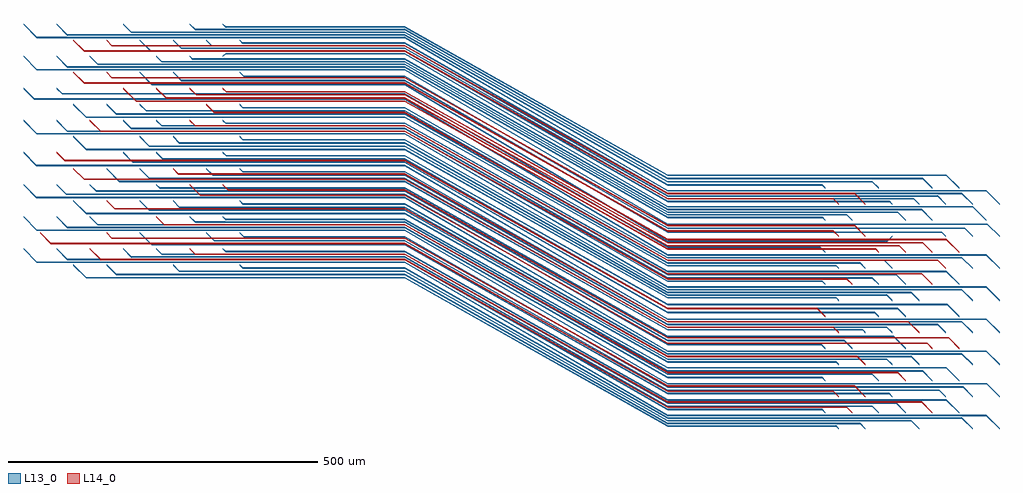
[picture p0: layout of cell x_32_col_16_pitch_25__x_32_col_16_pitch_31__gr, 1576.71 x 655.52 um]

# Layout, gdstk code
import gdstk
lib = gdstk.Library(unit=1e-6, precision=1e-09)
def R(c, l, rs):  # rectangles x0, y0, x1, y1
    for r in rs: c.add(gdstk.rectangle(r[:2], r[2:], *l))
def A(c, l, x, y, w, h, nx, ny, dx, dy):  # array of equal rectangles
    R(c, l, [(x+i*dx, y+j*dy, x+i*dx+w, y+j*dy+h) for i in range(nx) for j in range(ny)])
def P(c, l, *ps):  # polygons
    for p in ps: c.add(gdstk.Polygon(p, *l))
L13_0 = (13, 0)
L14_0 = (14, 0)

x_32_col_16_pitch_25__x_ = lib.new_cell('x_32_col_16_pitch_25__x_32_col_16_pitch_31__gr')
A(x_32_col_16_pitch_25__x_, L13_0, 2300, 1226.56, 271.46, 2, 1, 3, 0, 103.68)
A(x_32_col_16_pitch_25__x_, L13_0, 2300, 1235.2, 392.72, 2, 1, 3, 0, 103.68)
A(x_32_col_16_pitch_25__x_, L13_0, 2300, 1305.184, 248.946, 2, 1, 3, 0, 155.52)
A(x_32_col_16_pitch_25__x_, L13_0, 2300, 1310.368, 330.362, 2, 1, 3, 0, 155.52)
A(x_32_col_16_pitch_25__x_, L13_0, 2300, 1320.736, 449.894, 2, 1, 3, 0, 155.52)
A(x_32_col_16_pitch_25__x_, L13_0, 2300, 1334.56, 353.74, 2, 1, 3, 0, 51.84)
A(x_32_col_16_pitch_25__x_, L13_0, 2300, 1343.2, 475, 2, 1, 4, 0, 51.84)
A(x_32_col_16_pitch_25__x_, L13_0, 2300, 1347.52, 513.982, 2, 1, 4, 0, 51.84)
A(x_32_col_16_pitch_25__x_, L13_0, 1360.153, 1466.224, 514.847, 2, 1, 3, 0, 103.68)
A(x_32_col_16_pitch_25__x_, L13_0, 1510.865, 1476.592, 364.135, 2, 1, 3, 0, 103.68)
A(x_32_col_16_pitch_25__x_, L13_0, 1462.352, 1575.088, 412.648, 2, 1, 3, 0, 51.84)
A(x_32_col_16_pitch_25__x_, L13_0, 1613.064, 1585.456, 261.936, 2, 1, 4, 0, 51.84)
R(x_32_col_16_pitch_25__x_, L13_0, [(2300,1230.88,2610.44,1232.88), (2300,1239.52,2775,1241.52), (2300,1243.84,2813.982,1245.84), (2300,1253.344,2548.946,1255.344), (2300,1258.528,2630.362,1260.528), (2300,1263.712,2668.478,1265.712), (2300,1268.896,2749.894,1270.896), (2300,1279.264,2657.196,1281.264), (2300,1284.448,2738.612,1286.448), (2300,1289.632,2776.728,1291.632), (2300,1294.816,2814.846,1296.816), (2300,1315.552,2711.778,1317.552), (2300,1358.32,2547.65,1360.32), (2300,1364.8,2584.47,1366.8), (2300,1371.28,2664.59,1373.28), (2300,1382.08,2614.76,1384.08), (2300,1390.72,2736.02,1392.72), (2300,1410.16,2634.25,1412.16), (2300,1416.64,2671.07,1418.64), (2300,1423.12,2751.19,1425.12), (2300,1471.072,2668.478,1473.072), (1408.662,1471.408,1875,1473.408), (1613.064,1481.776,1875,1483.776), (2300,1485.76,2571.46,1487.76), (2300,1490.08,2610.44,1492.08), (1280.472,1491.28,1875,1493.28), (2300,1494.4,2649.42,1496.4), (1329.85,1495.6,1875,1497.6), (1432.917,1499.92,1875,1501.92), (1482.29,1504.24,1875,1506.24), (1585.36,1508.56,1875,1510.56), (2300,1516,2545.49,1518), (1466.24,1519.36,1875,1521.36), (2300,1524.64,2653.74,1526.64), (1567.15,1525.84,1875,1527.84), (1614.36,1532.32,1875,1534.32), (2300,1539.76,2742.5,1541.76), (1280.472,1543.12,1875,1545.12), (2300,1546.24,2779.32,1548.24), (1329.85,1547.44,1875,1549.44), (1379.22,1551.76,1875,1553.76), (2300,1552.72,2816.142,1554.72), (1535.98,1556.08,1875,1558.08), (1585.36,1560.4,1875,1562.4), (2300,1563.52,2549.81,1565.52), (2300,1567.84,2588.79,1569.84), (2300,1572.16,2671.07,1574.16), (2300,1576.48,2710.05,1578.48), (2300,1580.8,2792.332,1582.8), (2300,1589.44,2658.06,1591.44), (2300,1593.76,2697.04,1595.76), (1279.608,1595.824,1875,1597.824), (2300,1598.08,2736.02,1600.08), (1328.122,1601.008,1875,1603.008), (2300,1602.4,2775,1604.4), (1376.628,1606.192,1875,1608.192), (2300,1606.72,2813.982,1608.72), (1478.834,1611.376,1875,1613.376), (1413.846,1621.744,1875,1623.744), (2300,1626.592,2711.778,1628.592), (1564.558,1632.112,1875,1634.112), (1279.608,1647.664,1875,1649.664), (1435.509,1652.848,1875,1654.848), (1484.018,1658.032,1875,1660.032), (1586.224,1663.216,1875,1665.216), (1280.472,1698.64,1875,1700.64), (1329.85,1702.96,1875,1704.96), (1432.917,1707.28,1875,1709.28), (1482.29,1711.6,1875,1713.6), (1585.36,1715.92,1875,1717.92), (1360.153,1725.424,1875,1727.424), (1408.662,1730.608,1875,1732.608), (1457.168,1735.792,1875,1737.792), (1276.152,1754.8,1875,1756.8), (1321.21,1763.44,1875,1765.44), (1466.24,1778.56,1875,1780.56), (1513.457,1785.04,1875,1787.04), (1614.36,1791.52,1875,1793.52), (1280.472,1802.32,1875,1804.32), (1329.85,1806.64,1875,1808.64), (1379.22,1810.96,1875,1812.96), (1482.29,1815.28,1875,1817.28), (1531.66,1819.6,1875,1821.6), (1585.36,1828.24,1875,1830.24), (1464.08,1832.56,1875,1834.56), (1513.457,1836.88,1875,1838.88), (1562.83,1841.2,1875,1843.2), (1612.2,1845.52,1875,1847.52), (1280.472,1854.16,1875,1856.16), (1329.85,1858.48,1875,1860.48), (1432.917,1862.8,1875,1864.8), (1535.98,1867.12,1875,1869.12), (1585.36,1871.44,1875,1873.44)])
P(x_32_col_16_pitch_25__x_, L13_0, [(2554.13,1611.04),(2554.13,1613.04),(2548.946,1618.224),(2548.946,1616.224)],
  [(2300,1616.224),(2300,1618.224),(1875,1860.48),(1875,1858.48)],
  [(1329.85,1858.48),(1329.85,1860.48),(1312.57,1877.76),(1312.57,1875.76)],
  [(2640.73,1611.04),(2640.73,1613.04),(2630.362,1623.408),(2630.362,1621.408)],
  [(2300,1621.408),(2300,1623.408),(1875,1864.8),(1875,1862.8)],
  [(1432.917,1862.8),(1432.917,1864.8),(1419.957,1877.76),(1419.957,1875.76)],
  [(2727.33,1611.04),(2727.33,1613.04),(2711.778,1628.592),(2711.778,1626.592)],
  [(2300,1626.592),(2300,1628.592),(1875,1869.12),(1875,1867.12)],
  [(1535.98,1867.12),(1535.98,1869.12),(1527.34,1877.76),(1527.34,1875.76)],
  [(2770.63,1611.04),(2770.63,1613.04),(2749.894,1633.776),(2749.894,1631.776)],
  [(2300,1631.776),(2300,1633.776),(1875,1873.44),(1875,1871.44)],
  [(1585.36,1871.44),(1585.36,1873.44),(1581.04,1877.76),(1581.04,1875.76)],
  [(2662.38,1585.12),(2662.38,1587.12),(2658.06,1591.44),(2658.06,1589.44)],
  [(2300,1589.44),(2300,1591.44),(1875,1834.56),(1875,1832.56)],
  [(1464.08,1832.56),(1464.08,1834.56),(1446.8,1851.84),(1446.8,1849.84)],
  [(2705.68,1585.12),(2705.68,1587.12),(2697.04,1595.76),(2697.04,1593.76)],
  [(2300,1593.76),(2300,1595.76),(1875,1838.88),(1875,1836.88)],
  [(1513.457,1836.88),(1513.457,1838.88),(1500.497,1851.84),(1500.497,1849.84)],
  [(2748.98,1585.12),(2748.98,1587.12),(2736.02,1600.08),(2736.02,1598.08)],
  [(2300,1598.08),(2300,1600.08),(1875,1843.2),(1875,1841.2)],
  [(1562.83,1841.2),(1562.83,1843.2),(1554.19,1851.84),(1554.19,1849.84)],
  [(2792.28,1585.12),(2792.28,1587.12),(2775,1604.4),(2775,1602.4)],
  [(2300,1602.4),(2300,1604.4),(1875,1847.52),(1875,1845.52)],
  [(1612.2,1845.52),(1612.2,1847.52),(1607.88,1851.84),(1607.88,1849.84)],
  [(2835.582,1585.12),(2835.582,1587.12),(2813.982,1608.72),(2813.982,1606.72)],
  [(2300,1606.72),(2300,1608.72),(1875,1856.16),(1875,1854.16)],
  [(1280.472,1854.16),(1280.472,1856.16),(1258.872,1877.76),(1258.872,1875.76)],
  [(2554.13,1559.2),(2554.13,1561.2),(2549.81,1565.52),(2549.81,1563.52)],
  [(2300,1563.52),(2300,1565.52),(1875,1808.64),(1875,1806.64)],
  [(1329.85,1806.64),(1329.85,1808.64),(1312.57,1825.92),(1312.57,1823.92)],
  [(2597.43,1559.2),(2597.43,1561.2),(2588.79,1569.84),(2588.79,1567.84)],
  [(2300,1567.84),(2300,1569.84),(1875,1812.96),(1875,1810.96)],
  [(1379.22,1810.96),(1379.22,1812.96),(1366.26,1825.92),(1366.26,1823.92)],
  [(2684.03,1559.2),(2684.03,1561.2),(2671.07,1574.16),(2671.07,1572.16)],
  [(2300,1572.16),(2300,1574.16),(1875,1817.28),(1875,1815.28)],
  [(1482.29,1815.28),(1482.29,1817.28),(1473.65,1825.92),(1473.65,1823.92)],
  [(2727.33,1559.2),(2727.33,1561.2),(2710.05,1578.48),(2710.05,1576.48)],
  [(2300,1576.48),(2300,1578.48),(1875,1821.6),(1875,1819.6)],
  [(1531.66,1819.6),(1531.66,1821.6),(1527.34,1825.92),(1527.34,1823.92)],
  [(2813.932,1559.2),(2813.932,1561.2),(2792.332,1582.8),(2792.332,1580.8)],
  [(2300,1580.8),(2300,1582.8),(1875,1830.24),(1875,1828.24)],
  [(1585.36,1828.24),(1585.36,1830.24),(1581.04,1825.92),(1581.04,1823.92)],
  [(2662.38,1533.28),(2662.38,1535.28),(2653.74,1526.64),(2653.74,1524.64)],
  [(2300,1524.64),(2300,1526.64),(1875,1780.56),(1875,1778.56)],
  [(1466.24,1778.56),(1466.24,1780.56),(1446.8,1800),(1446.8,1798)],
  [(2748.98,1533.28),(2748.98,1535.28),(2742.5,1541.76),(2742.5,1539.76)],
  [(2300,1539.76),(2300,1541.76),(1875,1787.04),(1875,1785.04)],
  [(1513.457,1785.04),(1513.457,1787.04),(1500.497,1800),(1500.497,1798)],
  [(2792.28,1533.28),(2792.28,1535.28),(2779.32,1548.24),(2779.32,1546.24)],
  [(2300,1546.24),(2300,1548.24),(1875,1793.52),(1875,1791.52)],
  [(1614.36,1791.52),(1614.36,1793.52),(1607.88,1800),(1607.88,1798)],
  [(2835.582,1533.28),(2835.582,1535.28),(2816.142,1554.72),(2816.142,1552.72)],
  [(2300,1552.72),(2300,1554.72),(1875,1804.32),(1875,1802.32)],
  [(1280.472,1802.32),(1280.472,1804.32),(1258.872,1825.92),(1258.872,1823.92)],
  [(2554.13,1507.36),(2554.13,1509.36),(2545.49,1518),(2545.49,1516)],
  [(2300,1516),(2300,1518),(1875,1765.44),(1875,1763.44)],
  [(1321.21,1763.44),(1321.21,1765.44),(1312.57,1774.08),(1312.57,1772.08)],
  [(2575.78,1481.44),(2575.78,1483.44),(2571.46,1487.76),(2571.46,1485.76)],
  [(2300,1485.76),(2300,1487.76),(1875,1727.424),(1875,1725.424)],
  [(1360.153,1725.424),(1360.153,1727.424),(1339.417,1748.16),(1339.417,1746.16)],
  [(2619.08,1481.44),(2619.08,1483.44),(2610.44,1492.08),(2610.44,1490.08)],
  [(2300,1490.08),(2300,1492.08),(1875,1732.608),(1875,1730.608)],
  [(1408.662,1730.608),(1408.662,1732.608),(1393.11,1748.16),(1393.11,1746.16)],
  [(2662.38,1481.44),(2662.38,1483.44),(2649.42,1496.4),(2649.42,1494.4)],
  [(2300,1494.4),(2300,1496.4),(1875,1737.792),(1875,1735.792)],
  [(1457.168,1735.792),(1457.168,1737.792),(1446.8,1748.16),(1446.8,1746.16)],
  [(2792.28,1481.44),(2792.28,1483.44),(2775,1500.72),(2775,1498.72)],
  [(2300,1498.72),(2300,1500.72),(1875,1742.976),(1875,1740.976)],
  [(1613.064,1740.976),(1613.064,1742.976),(1607.88,1748.16),(1607.88,1746.16)],
  [(2835.582,1481.44),(2835.582,1483.44),(2813.982,1505.04),(2813.982,1503.04)],
  [(2300,1503.04),(2300,1505.04),(1875,1756.8),(1875,1754.8)],
  [(1276.152,1754.8),(1276.152,1756.8),(1258.872,1774.08),(1258.872,1772.08)],
  [(2554.13,1455.52),(2554.13,1457.52),(2548.946,1462.704),(2548.946,1460.704)],
  [(2300,1460.704),(2300,1462.704),(1875,1704.96),(1875,1702.96)],
  [(1329.85,1702.96),(1329.85,1704.96),(1312.57,1722.24),(1312.57,1720.24)],
  [(2640.73,1455.52),(2640.73,1457.52),(2630.362,1467.888),(2630.362,1465.888)],
  [(2300,1465.888),(2300,1467.888),(1875,1709.28),(1875,1707.28)],
  [(1432.917,1707.28),(1432.917,1709.28),(1419.957,1722.24),(1419.957,1720.24)],
  [(2684.03,1455.52),(2684.03,1457.52),(2668.478,1473.072),(2668.478,1471.072)],
  [(2300,1471.072),(2300,1473.072),(1875,1713.6),(1875,1711.6)],
  [(1482.29,1711.6),(1482.29,1713.6),(1473.65,1722.24),(1473.65,1720.24)],
  [(2770.63,1455.52),(2770.63,1457.52),(2749.894,1478.256),(2749.894,1476.256)],
  [(2300,1476.256),(2300,1478.256),(1875,1717.92),(1875,1715.92)],
  [(1585.36,1715.92),(1585.36,1717.92),(1581.04,1722.24),(1581.04,1720.24)],
  [(2575.78,1429.6),(2575.78,1431.6),(2571.46,1435.92),(2571.46,1433.92)],
  [(2300,1433.92),(2300,1435.92),(1875,1675.584),(1875,1673.584)],
  [(1360.153,1673.584),(1360.153,1675.584),(1339.417,1696.32),(1339.417,1694.32)],
  [(2662.38,1429.6),(2662.38,1431.6),(2653.74,1440.24),(2653.74,1438.24)],
  [(2300,1438.24),(2300,1440.24),(1875,1680.768),(1875,1678.768)],
  [(1462.352,1678.768),(1462.352,1680.768),(1446.8,1696.32),(1446.8,1694.32)],
  [(2705.68,1429.6),(2705.68,1431.6),(2692.72,1444.56),(2692.72,1442.56)],
  [(2300,1442.56),(2300,1444.56),(1875,1685.952),(1875,1683.952)],
  [(1510.865,1683.952),(1510.865,1685.952),(1500.497,1696.32),(1500.497,1694.32)],
  [(2792.28,1429.6),(2792.28,1431.6),(2775,1448.88),(2775,1446.88)],
  [(2300,1446.88),(2300,1448.88),(1875,1691.136),(1875,1689.136)],
  [(1613.064,1689.136),(1613.064,1691.136),(1607.88,1696.32),(1607.88,1694.32)],
  [(2835.582,1429.6),(2835.582,1431.6),(2813.982,1453.2),(2813.982,1451.2)],
  [(2300,1451.2),(2300,1453.2),(1875,1700.64),(1875,1698.64)],
  [(1280.472,1698.64),(1280.472,1700.64),(1258.872,1722.24),(1258.872,1720.24)],
  [(2640.73,1403.68),(2640.73,1405.68),(2634.25,1412.16),(2634.25,1410.16)],
  [(2300,1410.16),(2300,1412.16),(1875,1654.848),(1875,1652.848)],
  [(1435.509,1652.848),(1435.509,1654.848),(1419.957,1670.4),(1419.957,1668.4)],
  [(2684.03,1403.68),(2684.03,1405.68),(2671.07,1418.64),(2671.07,1416.64)],
  [(2300,1416.64),(2300,1418.64),(1875,1660.032),(1875,1658.032)],
  [(1484.018,1658.032),(1484.018,1660.032),(1473.65,1670.4),(1473.65,1668.4)],
  [(2770.63,1403.68),(2770.63,1405.68),(2751.19,1425.12),(2751.19,1423.12)],
  [(2300,1423.12),(2300,1425.12),(1875,1665.216),(1875,1663.216)],
  [(1586.224,1663.216),(1586.224,1665.216),(1581.04,1670.4),(1581.04,1668.4)],
  [(2619.08,1377.76),(2619.08,1379.76),(2614.76,1384.08),(2614.76,1382.08)],
  [(2300,1382.08),(2300,1384.08),(1875,1623.744),(1875,1621.744)],
  [(1413.846,1621.744),(1413.846,1623.744),(1393.11,1644.48),(1393.11,1642.48)],
  [(2662.38,1377.76),(2662.38,1379.76),(2653.74,1388.4),(2653.74,1386.4)],
  [(2300,1386.4),(2300,1388.4),(1875,1628.928),(1875,1626.928)],
  [(1462.352,1626.928),(1462.352,1628.928),(1446.8,1644.48),(1446.8,1642.48)],
  [(2748.98,1377.76),(2748.98,1379.76),(2736.02,1392.72),(2736.02,1390.72)],
  [(2300,1390.72),(2300,1392.72),(1875,1634.112),(1875,1632.112)],
  [(1564.558,1632.112),(1564.558,1634.112),(1554.19,1644.48),(1554.19,1642.48)],
  [(2792.28,1377.76),(2792.28,1379.76),(2775,1397.04),(2775,1395.04)],
  [(2300,1395.04),(2300,1397.04),(1875,1639.296),(1875,1637.296)],
  [(1613.064,1637.296),(1613.064,1639.296),(1607.88,1644.48),(1607.88,1642.48)],
  [(2835.582,1377.76),(2835.582,1379.76),(2813.982,1401.36),(2813.982,1399.36)],
  [(2300,1399.36),(2300,1401.36),(1875,1649.664),(1875,1647.664)],
  [(1279.608,1647.664),(1279.608,1649.664),(1258.872,1670.4),(1258.872,1668.4)],
  [(2554.13,1351.84),(2554.13,1353.84),(2547.65,1360.32),(2547.65,1358.32)],
  [(2300,1358.32),(2300,1360.32),(1875,1603.008),(1875,1601.008)],
  [(1328.122,1601.008),(1328.122,1603.008),(1312.57,1618.56),(1312.57,1616.56)],
  [(2597.43,1351.84),(2597.43,1353.84),(2584.47,1366.8),(2584.47,1364.8)],
  [(2300,1364.8),(2300,1366.8),(1875,1608.192),(1875,1606.192)],
  [(1376.628,1606.192),(1376.628,1608.192),(1366.26,1618.56),(1366.26,1616.56)],
  [(2684.03,1351.84),(2684.03,1353.84),(2664.59,1373.28),(2664.59,1371.28)],
  [(2300,1371.28),(2300,1373.28),(1875,1613.376),(1875,1611.376)],
  [(1478.834,1611.376),(1478.834,1613.376),(1473.65,1618.56),(1473.65,1616.56)],
  [(2575.78,1325.92),(2575.78,1327.92),(2571.46,1332.24),(2571.46,1330.24)],
  [(2300,1330.24),(2300,1332.24),(1875,1571.904),(1875,1569.904)],
  [(1360.153,1569.904),(1360.153,1571.904),(1339.417,1592.64),(1339.417,1590.64)],
  [(2662.38,1325.92),(2662.38,1327.92),(2653.74,1336.56),(2653.74,1334.56)],
  [(2300,1334.56),(2300,1336.56),(1875,1577.088),(1875,1575.088)],
  [(1462.352,1575.088),(1462.352,1577.088),(1446.8,1592.64),(1446.8,1590.64)],
  [(2705.68,1325.92),(2705.68,1327.92),(2692.72,1340.88),(2692.72,1338.88)],
  [(2300,1338.88),(2300,1340.88),(1875,1582.272),(1875,1580.272)],
  [(1510.865,1580.272),(1510.865,1582.272),(1500.497,1592.64),(1500.497,1590.64)],
  [(2792.28,1325.92),(2792.28,1327.92),(2775,1345.2),(2775,1343.2)],
  [(2300,1343.2),(2300,1345.2),(1875,1587.456),(1875,1585.456)],
  [(1613.064,1585.456),(1613.064,1587.456),(1607.88,1592.64),(1607.88,1590.64)],
  [(2835.582,1325.92),(2835.582,1327.92),(2813.982,1349.52),(2813.982,1347.52)],
  [(2300,1347.52),(2300,1349.52),(1875,1597.824),(1875,1595.824)],
  [(1279.608,1595.824),(1279.608,1597.824),(1258.872,1618.56),(1258.872,1616.56)],
  [(2554.13,1300),(2554.13,1302),(2548.946,1307.184),(2548.946,1305.184)],
  [(2300,1305.184),(2300,1307.184),(1875,1549.44),(1875,1547.44)],
  [(1329.85,1547.44),(1329.85,1549.44),(1312.57,1566.72),(1312.57,1564.72)],
  [(2640.73,1300),(2640.73,1302),(2630.362,1312.368),(2630.362,1310.368)],
  [(2300,1310.368),(2300,1312.368),(1875,1553.76),(1875,1551.76)],
  [(1379.22,1551.76),(1379.22,1553.76),(1366.26,1566.72),(1366.26,1564.72)],
  [(2727.33,1300),(2727.33,1302),(2711.778,1317.552),(2711.778,1315.552)],
  [(2300,1315.552),(2300,1317.552),(1875,1558.08),(1875,1556.08)],
  [(1535.98,1556.08),(1535.98,1558.08),(1527.34,1566.72),(1527.34,1564.72)],
  [(2770.63,1300),(2770.63,1302),(2749.894,1322.736),(2749.894,1320.736)],
  [(2300,1320.736),(2300,1322.736),(1875,1562.4),(1875,1560.4)],
  [(1585.36,1560.4),(1585.36,1562.4),(1581.04,1566.72),(1581.04,1564.72)],
  [(2662.38,1274.08),(2662.38,1276.08),(2657.196,1281.264),(2657.196,1279.264)],
  [(2300,1279.264),(2300,1281.264),(1875,1521.36),(1875,1519.36)],
  [(1466.24,1519.36),(1466.24,1521.36),(1446.8,1540.8),(1446.8,1538.8)],
  [(2748.98,1274.08),(2748.98,1276.08),(2738.612,1286.448),(2738.612,1284.448)],
  [(2300,1284.448),(2300,1286.448),(1875,1527.84),(1875,1525.84)],
  [(1567.15,1525.84),(1567.15,1527.84),(1554.19,1540.8),(1554.19,1538.8)],
  [(2792.28,1274.08),(2792.28,1276.08),(2776.728,1291.632),(2776.728,1289.632)],
  [(2300,1289.632),(2300,1291.632),(1875,1534.32),(1875,1532.32)],
  [(1614.36,1532.32),(1614.36,1534.32),(1607.88,1540.8),(1607.88,1538.8)],
  [(2835.582,1274.08),(2835.582,1276.08),(2814.846,1296.816),(2814.846,1294.816)],
  [(2300,1294.816),(2300,1296.816),(1875,1545.12),(1875,1543.12)],
  [(1280.472,1543.12),(1280.472,1545.12),(1258.872,1566.72),(1258.872,1564.72)],
  [(2554.13,1248.16),(2554.13,1250.16),(2548.946,1255.344),(2548.946,1253.344)],
  [(2300,1253.344),(2300,1255.344),(1875,1497.6),(1875,1495.6)],
  [(1329.85,1495.6),(1329.85,1497.6),(1312.57,1514.88),(1312.57,1512.88)],
  [(2640.73,1248.16),(2640.73,1250.16),(2630.362,1260.528),(2630.362,1258.528)],
  [(2300,1258.528),(2300,1260.528),(1875,1501.92),(1875,1499.92)],
  [(1432.917,1499.92),(1432.917,1501.92),(1419.957,1514.88),(1419.957,1512.88)],
  [(2684.03,1248.16),(2684.03,1250.16),(2668.478,1265.712),(2668.478,1263.712)],
  [(2300,1263.712),(2300,1265.712),(1875,1506.24),(1875,1504.24)],
  [(1482.29,1504.24),(1482.29,1506.24),(1473.65,1514.88),(1473.65,1512.88)],
  [(2770.63,1248.16),(2770.63,1250.16),(2749.894,1270.896),(2749.894,1268.896)],
  [(2300,1268.896),(2300,1270.896),(1875,1510.56),(1875,1508.56)],
  [(1585.36,1508.56),(1585.36,1510.56),(1581.04,1514.88),(1581.04,1512.88)],
  [(2575.78,1222.24),(2575.78,1224.24),(2571.46,1228.56),(2571.46,1226.56)],
  [(2300,1226.56),(2300,1228.56),(1875,1468.224),(1875,1466.224)],
  [(1360.153,1466.224),(1360.153,1468.224),(1339.417,1488.96),(1339.417,1486.96)],
  [(2619.08,1222.24),(2619.08,1224.24),(2610.44,1232.88),(2610.44,1230.88)],
  [(2300,1230.88),(2300,1232.88),(1875,1473.408),(1875,1471.408)],
  [(1408.662,1471.408),(1408.662,1473.408),(1393.11,1488.96),(1393.11,1486.96)],
  [(2705.68,1222.24),(2705.68,1224.24),(2692.72,1237.2),(2692.72,1235.2)],
  [(2300,1235.2),(2300,1237.2),(1875,1478.592),(1875,1476.592)],
  [(1510.865,1476.592),(1510.865,1478.592),(1500.497,1488.96),(1500.497,1486.96)],
  [(2792.28,1222.24),(2792.28,1224.24),(2775,1241.52),(2775,1239.52)],
  [(2300,1239.52),(2300,1241.52),(1875,1483.776),(1875,1481.776)],
  [(1613.064,1481.776),(1613.064,1483.776),(1607.88,1488.96),(1607.88,1486.96)],
  [(2835.582,1222.24),(2835.582,1224.24),(2813.982,1245.84),(2813.982,1243.84)],
  [(2300,1243.84),(2300,1245.84),(1875,1493.28),(1875,1491.28)],
  [(1280.472,1491.28),(1280.472,1493.28),(1258.872,1514.88),(1258.872,1512.88)])
R(x_32_col_16_pitch_25__x_, L14_0, [(2300,1256.8,2588.79,1258.8), (2300,1265.44,2710.05,1267.44), (2300,1282.72,2567.14,1284.72), (2300,1291.36,2601.8,1293.36), (2300,1312.96,2671.07,1314.96), (2300,1338.88,2606.12,1340.88), (2300,1360.48,2718.69,1362.48), (2300,1369.12,2753.35,1371.12), (2300,1386.4,2567.14,1388.4), (2300,1395.04,2688.4,1397.04), (2300,1416.64,2541.17,1418.64), (2300,1464.16,2588.79,1466.16), (2300,1472.8,2710.05,1474.8), (2300,1494.4,2736.02,1496.4), (1383.54,1495.6,1875,1497.6), (1535.98,1504.24,1875,1506.24), (2300,1512.544,2635.546,1514.544), (2300,1517.728,2673.662,1519.728), (1303,1521.52,1875,1523.52), (2300,1522.912,2711.778,1524.912), (2300,1528.096,2749.894,1530.096), (1401.75,1530.16,1875,1532.16), (2300,1541.92,2567.14,1543.92), (2300,1550.56,2601.8,1552.56), (1486.61,1551.76,1875,1553.76), (1406.07,1577.68,1875,1579.68), (2300,1593.76,2567.14,1595.76), (1544.62,1599.28,1875,1601.28), (2300,1602.4,2601.8,1604.4), (1589.68,1607.92,1875,1609.92), (1356.697,1625.2,1875,1627.2), (1509.137,1633.84,1875,1635.84), (1325.53,1655.44,1875,1657.44), (1383.54,1702.96,1875,1704.96), (1535.98,1711.6,1875,1713.6), (1567.15,1733.2,1875,1735.2), (1440.693,1751.344,1875,1753.344), (1489.202,1756.528,1875,1758.528), (1537.708,1761.712,1875,1763.712), (1586.224,1766.896,1875,1768.896), (1356.697,1780.72,1875,1782.72), (1401.75,1789.36,1875,1791.36), (1356.697,1832.56,1875,1834.56), (1401.75,1841.2,1875,1843.2)])
P(x_32_col_16_pitch_25__x_, L14_0, [(2575.78,1585.12),(2575.78,1587.12),(2567.14,1595.76),(2567.14,1593.76)],
  [(2300,1593.76),(2300,1595.76),(1875,1834.56),(1875,1832.56)],
  [(1356.697,1832.56),(1356.697,1834.56),(1339.417,1851.84),(1339.417,1849.84)],
  [(2619.08,1585.12),(2619.08,1587.12),(2601.8,1604.4),(2601.8,1602.4)],
  [(2300,1602.4),(2300,1604.4),(1875,1843.2),(1875,1841.2)],
  [(1401.75,1841.2),(1401.75,1843.2),(1393.11,1851.84),(1393.11,1849.84)],
  [(2575.78,1533.28),(2575.78,1535.28),(2567.14,1543.92),(2567.14,1541.92)],
  [(2300,1541.92),(2300,1543.92),(1875,1782.72),(1875,1780.72)],
  [(1356.697,1780.72),(1356.697,1782.72),(1339.417,1800),(1339.417,1798)],
  [(2619.08,1533.28),(2619.08,1535.28),(2601.8,1552.56),(2601.8,1550.56)],
  [(2300,1550.56),(2300,1552.56),(1875,1791.36),(1875,1789.36)],
  [(1401.75,1789.36),(1401.75,1791.36),(1393.11,1800),(1393.11,1798)],
  [(2640.73,1507.36),(2640.73,1509.36),(2635.546,1514.544),(2635.546,1512.544)],
  [(2300,1512.544),(2300,1514.544),(1875,1753.344),(1875,1751.344)],
  [(1440.693,1751.344),(1440.693,1753.344),(1419.957,1774.08),(1419.957,1772.08)],
  [(2684.03,1507.36),(2684.03,1509.36),(2673.662,1519.728),(2673.662,1517.728)],
  [(2300,1517.728),(2300,1519.728),(1875,1758.528),(1875,1756.528)],
  [(1489.202,1756.528),(1489.202,1758.528),(1473.65,1774.08),(1473.65,1772.08)],
  [(2727.33,1507.36),(2727.33,1509.36),(2711.778,1524.912),(2711.778,1522.912)],
  [(2300,1522.912),(2300,1524.912),(1875,1763.712),(1875,1761.712)],
  [(1537.708,1761.712),(1537.708,1763.712),(1527.34,1774.08),(1527.34,1772.08)],
  [(2770.63,1507.36),(2770.63,1509.36),(2749.894,1530.096),(2749.894,1528.096)],
  [(2300,1528.096),(2300,1530.096),(1875,1768.896),(1875,1766.896)],
  [(1586.224,1766.896),(1586.224,1768.896),(1581.04,1774.08),(1581.04,1772.08)],
  [(2748.98,1481.44),(2748.98,1483.44),(2736.02,1496.4),(2736.02,1494.4)],
  [(2300,1494.4),(2300,1496.4),(1875,1735.2),(1875,1733.2)],
  [(1567.15,1733.2),(1567.15,1735.2),(1554.19,1748.16),(1554.19,1746.16)],
  [(2597.43,1455.52),(2597.43,1457.52),(2588.79,1466.16),(2588.79,1464.16)],
  [(2300,1464.16),(2300,1466.16),(1875,1704.96),(1875,1702.96)],
  [(1383.54,1702.96),(1383.54,1704.96),(1366.26,1722.24),(1366.26,1720.24)],
  [(2727.33,1455.52),(2727.33,1457.52),(2710.05,1474.8),(2710.05,1472.8)],
  [(2300,1472.8),(2300,1474.8),(1875,1713.6),(1875,1711.6)],
  [(1535.98,1711.6),(1535.98,1713.6),(1527.34,1722.24),(1527.34,1720.24)],
  [(2554.13,1403.68),(2554.13,1405.68),(2541.17,1418.64),(2541.17,1416.64)],
  [(2300,1416.64),(2300,1418.64),(1875,1657.44),(1875,1655.44)],
  [(1325.53,1655.44),(1325.53,1657.44),(1312.57,1670.4),(1312.57,1668.4)],
  [(2575.78,1377.76),(2575.78,1379.76),(2567.14,1388.4),(2567.14,1386.4)],
  [(2300,1386.4),(2300,1388.4),(1875,1627.2),(1875,1625.2)],
  [(1356.697,1625.2),(1356.697,1627.2),(1339.417,1644.48),(1339.417,1642.48)],
  [(2705.68,1377.76),(2705.68,1379.76),(2688.4,1397.04),(2688.4,1395.04)],
  [(2300,1395.04),(2300,1397.04),(1875,1635.84),(1875,1633.84)],
  [(1509.137,1633.84),(1509.137,1635.84),(1500.497,1644.48),(1500.497,1642.48)],
  [(2727.33,1351.84),(2727.33,1353.84),(2718.69,1362.48),(2718.69,1360.48)],
  [(2300,1360.48),(2300,1362.48),(1875,1601.28),(1875,1599.28)],
  [(1544.62,1599.28),(1544.62,1601.28),(1527.34,1618.56),(1527.34,1616.56)],
  [(2770.63,1351.84),(2770.63,1353.84),(2753.35,1371.12),(2753.35,1369.12)],
  [(2300,1369.12),(2300,1371.12),(1875,1609.92),(1875,1607.92)],
  [(1589.68,1607.92),(1589.68,1609.92),(1581.04,1618.56),(1581.04,1616.56)],
  [(2619.08,1325.92),(2619.08,1327.92),(2606.12,1340.88),(2606.12,1338.88)],
  [(2300,1338.88),(2300,1340.88),(1875,1579.68),(1875,1577.68)],
  [(1406.07,1577.68),(1406.07,1579.68),(1393.11,1592.64),(1393.11,1590.64)],
  [(2684.03,1300),(2684.03,1302),(2671.07,1314.96),(2671.07,1312.96)],
  [(2300,1312.96),(2300,1314.96),(1875,1553.76),(1875,1551.76)],
  [(1486.61,1551.76),(1486.61,1553.76),(1473.65,1566.72),(1473.65,1564.72)],
  [(2575.78,1274.08),(2575.78,1276.08),(2567.14,1284.72),(2567.14,1282.72)],
  [(2300,1282.72),(2300,1284.72),(1875,1523.52),(1875,1521.52)],
  [(1303,1521.52),(1303,1523.52),(1285.72,1540.8),(1285.72,1538.8)],
  [(2619.08,1274.08),(2619.08,1276.08),(2601.8,1293.36),(2601.8,1291.36)],
  [(2300,1291.36),(2300,1293.36),(1875,1532.16),(1875,1530.16)],
  [(1401.75,1530.16),(1401.75,1532.16),(1393.11,1540.8),(1393.11,1538.8)],
  [(2597.43,1248.16),(2597.43,1250.16),(2588.79,1258.8),(2588.79,1256.8)],
  [(2300,1256.8),(2300,1258.8),(1875,1497.6),(1875,1495.6)],
  [(1383.54,1495.6),(1383.54,1497.6),(1366.26,1514.88),(1366.26,1512.88)],
  [(2727.33,1248.16),(2727.33,1250.16),(2710.05,1267.44),(2710.05,1265.44)],
  [(2300,1265.44),(2300,1267.44),(1875,1506.24),(1875,1504.24)],
  [(1535.98,1504.24),(1535.98,1506.24),(1527.34,1514.88),(1527.34,1512.88)])

lib.write_gds('x_32_col_16_pitch_25__x_32_col_16_pitch_31__gr.gds')
